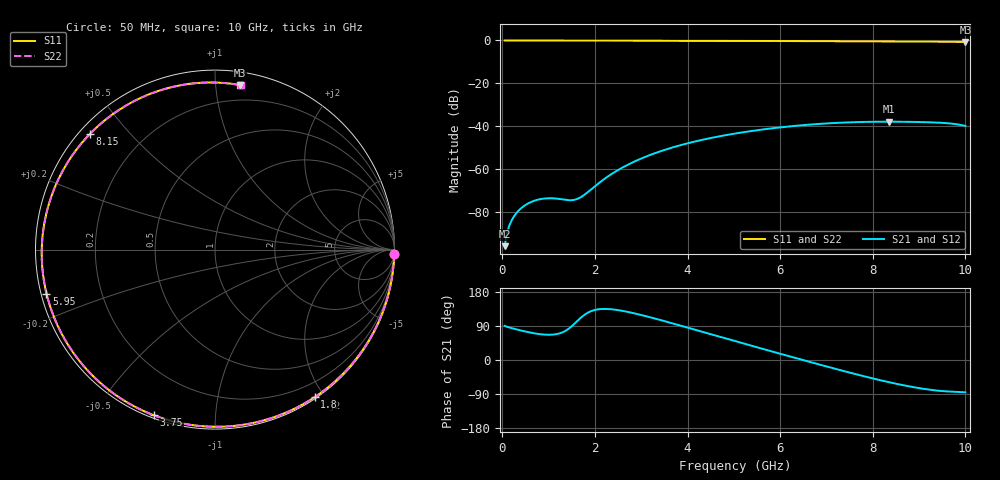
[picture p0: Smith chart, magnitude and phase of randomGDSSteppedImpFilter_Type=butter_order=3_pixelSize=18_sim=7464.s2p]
! freq	dB(S11)	phase(S11)	dB(S12)	phase(S12)
!  dB(S21)	phase(S21)	dB(S22)	phase(S22)
!S-par simulation data
#  GHz  S  DB  R 50
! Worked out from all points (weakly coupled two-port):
!   200 points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, 50 MHz to 10 GHz, reference 50 ohm
!   highest |S21| = -37.84 dB at 8.35 GHz (marker M1); lowest = -95.8 dB at 50 MHz (marker M2)
!   lowest |S11| = -0.7 dB at 10 GHz (marker M3), VSWR 26.50, Z = 4.44 + j58 ohm
!   |S11| at or under -10 dB: nowhere
!   |S22| runs from -0.7 to 0.0 dB; largest |S21 - S12| = 0
!   S11 on the Smith chart (normalised r, x): 50 MHz: 1, -74; 1.8 GHz: 0.02, -1.88; 3.75 GHz: 0.01, -0.70; 5.95 GHz: 0.02, -0.13; 8.15 GHz: 0.03, +0.39; 10 GHz: 0.09, +1.16
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0.05  -0.00 -1.6  -95.82 90.1  -95.82 90.1  -0.00 -1.6
0.3  -0.02 -9.5  -80.53 80.9  -80.53 80.9  -0.02 -9.5
0.55  -0.02 -17.5  -76.01 73.8  -76.01 73.8  -0.02 -17.5
0.8  -0.03 -25.4  -74.00 68.4  -74.00 68.4  -0.03 -25.4
1.05  -0.04 -33.2  -73.49 66.7  -73.49 66.7  -0.04 -33.2
1.5  -0.06 -47.0  -74.40 89.1  -74.40 89.1  -0.06 -47.0
1.75  -0.07 -54.5  -72.25 117.0  -72.25 117.0  -0.07 -54.5
1.8  -0.07 -56.0  -71.45 121.4  -71.45 121.4  -0.07 -56.0
2.2  -0.08 -67.7  -64.58 134.8  -64.58 134.8  -0.08 -67.7
2.55  -0.10 -77.7  -59.74 130.6  -59.74 130.6  -0.10 -77.7
2.95  -0.11 -88.8  -55.46 120.3  -55.46 120.3  -0.11 -88.8
3.4  -0.13 -101.0  -51.73 106.0  -51.73 106.0  -0.13 -101.0
3.75  -0.14 -110.2  -49.37 94.1  -49.37 94.1  -0.14 -110.2
4.35  -0.17 -125.6  -46.14 73.3  -46.14 73.3  -0.17 -125.6
5.05  -0.20 -143.1  -43.28 49.0  -43.28 49.0  -0.20 -143.2
5.95  -0.26 -165.4  -40.62 18.2  -40.62 18.2  -0.26 -165.4
6.7  -0.32 175.9  -39.09 -7.1  -39.09 -7.1  -0.32 175.8
7.4  -0.38 157.8  -38.22 -30.1  -38.22 -30.1  -0.38 157.7
8.15  -0.45 137.4  -37.85 -53.0  -37.85 -53.0  -0.45 137.2
8.35  -0.47 131.7  -37.84 -58.6  -37.84 -58.6  -0.47 131.6
9.2  -0.56 106.6  -38.10 -77.9  -38.10 -77.9  -0.56 106.4
10  -0.66 81.3  -39.82 -85.3  -39.82 -85.3  -0.66 81.0
